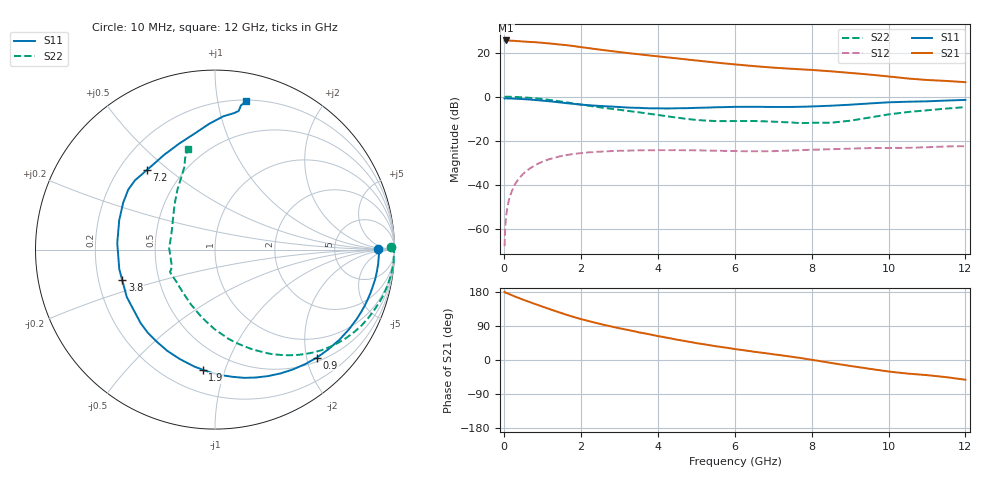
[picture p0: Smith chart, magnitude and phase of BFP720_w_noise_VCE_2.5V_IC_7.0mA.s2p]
! Infineon Technologies  Discrete & RF Semiconductors
! BFP720
! VCE =  2.5 V,  IC =  7.0 mA
! Common Emitter S-Parameters:  Aug 2012
# GHz  S  MA  R  50
!  f  S11  S21  S12  S22
! GHz  MAG  ANG  MAG  ANG  MAG  ANG  MAG  ANG
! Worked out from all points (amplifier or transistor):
!   105 points, 10 MHz to 12 GHz, reference 50 ohm
!   highest |S21| = 25.6 dB at 50 MHz (marker M1)
!   |S21| within 3 dB of that: start of sweep to 1.99 GHz
!   unconditionally stable (mu >= 1): start of sweep to 10.08 MHz; 6.121 GHz to 11.39 GHz
!   at 300 MHz: K = 0.06, MSG = 32.3 dB, |S12| = -39.3 dB
!   at 3.6 GHz: K = 0.58, MSG = 21.7 dB, |S12| = -24.4 dB
!   at 12 GHz: K = 0.82, MSG = 14.5 dB, |S12| = -22.5 dB
!   lowest NFmin = 0.44 dB at 450 MHz
!   S11 on the Smith chart (normalised r, x): 10 MHz: 21, +1; 900 MHz: 0.58, -2.20; 1.9 GHz: 0.34, -0.84; 3.8 GHz: 0.30, -0.15; 7.2 GHz: 0.31, +0.42; 12 GHz: 0.21, +1.21
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0.01  0.908 0.2  18.82 180.0  0.0004 -47.2  0.9818 1.0
0.02  0.915 -0.9  18.77 178.5  0.0008 97.4  0.9968 -0.6
0.05  0.9131 -2.5  18.96 177.2  0.0019 91.4  0.9968 -1.7
0.45  0.8852 -23.2  18.07 160.8  0.0161 76.2  0.9696 -15.7
0.9  0.8275 -46.6  17.04 144.3  0.0305 63.0  0.901 -30.7
1.2  0.7809 -62.0  16.14 133.7  0.0385 54.5  0.8391 -40.2
1.4  0.7488 -72.1  15.47 126.8  0.043 49.2  0.7936 -46.2
1.6  0.715 -82.3  14.9 120.0  0.0467 44.3  0.7474 -51.7
1.9  0.673 -95.8  13.76 110.8  0.051 37.7  0.6808 -59.3
2.1  0.6496 -103.9  13.02 105.4  0.0531 33.9  0.6408 -63.8
2.4  0.6235 -115.3  12.01 97.5  0.0557 28.7  0.5878 -70.1
2.8  0.5955 -129.0  10.84 88.0  0.0581 23.0  0.5289 -77.7
3.5  0.5579 -151.8  9.21 73.1  0.0603 15.0  0.4416 -90.6
3.8  0.5442 -161.7  8.607 67.3  0.0606 12.2  0.4061 -96.5
4.1  0.5415 -171.5  8.075 61.3  0.0609 9.5  0.3736 -103.2
5  0.5582 163.0  6.65 44.5  0.0603 2.9  0.2965 -127.9
6.1  0.5875 144.1  5.32 27.6  0.0579 -0.9  0.2794 -150.3
7.2  0.5836 130.7  4.458 12.5  0.0586 -0.6  0.2656 -156.5
8.5  0.6233 108.7  3.771 -7.7  0.0638 -3.6  0.2561 162.1
9.5  0.7012 92.7  3.183 -23.1  0.0678 -7.3  0.3352 132.4
10.5  0.7681 82.0  2.59 -35.9  0.0688 -11.1  0.4481 114.6
12  0.8448 78.1  2.138 -52.0  0.0752 -17.2  0.5801 105.3
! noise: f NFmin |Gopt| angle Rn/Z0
0.45  0.44  0.4  3  -0.03
1.8  0.52  0.37  23  0.13
2.4  0.57  0.28  50  0.26
5.5  0.71  0.17  49  0.16
10  0.94  0.39  -86  0.2
